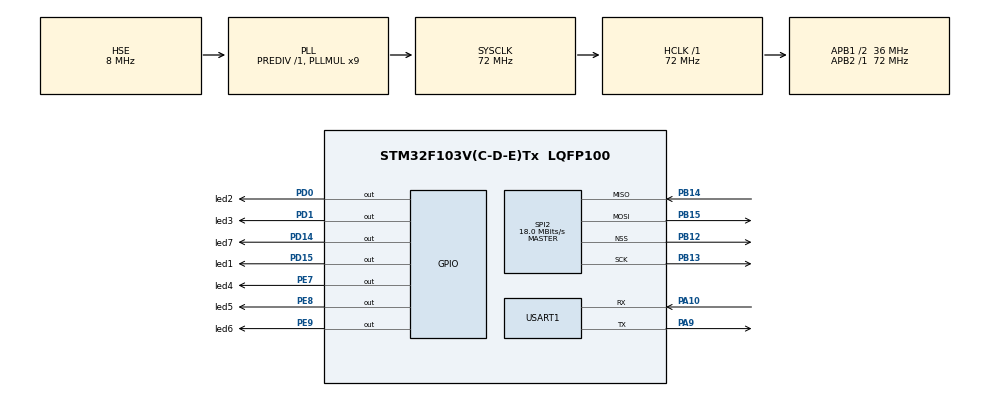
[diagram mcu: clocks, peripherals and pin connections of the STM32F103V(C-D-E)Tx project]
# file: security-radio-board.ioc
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FREERTOS.Tasks01=defaultTask,0,128,StartDefaultTask,Default,NULL
Mcu.Family=STM32F1
Mcu.Name=STM32F103V(C-D-E)Tx
Mcu.Package=LQFP100
NVIC.PriorityGroup=NVIC_PRIORITYGROUP_4
NVIC.TIM8_UP_IRQn=true\:0\:0\:false\:false\:true\:false\:false
NVIC.TimeBase=TIM8_UP_IRQn
NVIC.TimeBaseIP=TIM8
OSC_IN.Mode=HSE-External-Oscillator
OSC_IN.Signal=RCC_OSC_IN
OSC_OUT.Mode=HSE-External-Oscillator
OSC_OUT.Signal=RCC_OSC_OUT
PA10.Mode=Asynchronous
PA10.Signal=USART1_RX
PA13.Mode=JTAG_5_pins
PA13.Signal=SYS_JTMS-SWDIO
PA14.Mode=JTAG_5_pins
PA14.Signal=SYS_JTCK-SWCLK
PA15.Mode=JTAG_5_pins
PA15.Signal=SYS_JTDI
PA9.Mode=Asynchronous
PA9.Signal=USART1_TX
PB12.Mode=NSS_Signal_Hard_Output
PB12.Signal=SPI2_NSS
PB13.Mode=Full_Duplex_Master
PB13.Signal=SPI2_SCK
PB14.Mode=Full_Duplex_Master
PB14.Signal=SPI2_MISO
PB15.Mode=Full_Duplex_Master
PB15.Signal=SPI2_MOSI
PB3.Mode=JTAG_5_pins
PB3.Signal=SYS_JTDO-TRACESWO
PB4.Mode=JTAG_5_pins
PB4.Signal=SYS_NJTRST
PD0.GPIO_Label=led2
PD0.Signal=GPIO_Output
PD1.GPIO_Label=led3
PD1.Signal=GPIO_Output
PD14.GPIO_Label=led7
PD14.Signal=GPIO_Output
PD15.GPIO_Label=led1
PD15.Signal=GPIO_Output
PE7.GPIO_Label=led4
PE7.Signal=GPIO_Output
PE8.GPIO_Label=led5
PE8.Signal=GPIO_Output
PE9.GPIO_Label=led6
PE9.Signal=GPIO_Output
ProjectManager.HeapSize=0x200
ProjectManager.StackSize=0x400
ProjectManager.TargetToolchain=SW4STM32
RCC.AHBFreq_Value=72000000
RCC.APB1CLKDivider=RCC_HCLK_DIV2
RCC.APB1Freq_Value=36000000
RCC.APB1TimFreq_Value=72000000
RCC.APB2Freq_Value=72000000
RCC.APB2TimFreq_Value=72000000
RCC.HCLKFreq_Value=72000000
RCC.PLLMUL=RCC_PLL_MUL9
RCC.PLLSourceVirtual=RCC_PLLSOURCE_HSE
RCC.SYSCLKFreq_VALUE=72000000
RCC.SYSCLKSource=RCC_SYSCLKSOURCE_PLLCLK
RCC.USBFreq_Value=72000000
SPI2.CalculateBaudRate=18.0 MBits/s
SPI2.Direction=SPI_DIRECTION_2LINES
SPI2.Mode=SPI_MODE_MASTER
SPI2.VirtualNSS=VM_NSSHARD
SPI2.VirtualType=VM_MASTER
USART1.VirtualMode=VM_ASYNC
VP_FREERTOS_VS_ENABLE.Mode=Enabled
VP_IWDG_VS_IWDG.Mode=IWDG_Activate
VP_SYS_VS_tim8.Mode=TIM8
board=security-radio-board

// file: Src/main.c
/**
 ******************************************************************************
 * @file           : main.c
 * @brief          : Main program body
 ******************************************************************************
 * This notice applies to any and all portions of this file
 * that are not between comment pairs USER CODE BEGIN and
 * USER CODE END. Other portions of this file, whether
 * inserted by the user or by software development tools
 * are owned by their respective copyright owners.
 *
 * Copyright (c) 2018 STMicroelectronics International N.V.
 * All rights reserved.
 *
 * Redistribution and use in source and binary forms, with or without
 * modification, are permitted, provided that the following conditions are met:
 *
 * 1. Redistribution of source code must retain the above copyright notice,
 *    this list of conditions and the following disclaimer.
 * 2. Redistributions in binary form must reproduce the above copyright notice,
 *    this list of conditions and the following disclaimer in the documentation
 *    and/or other materials provided with the distribution.
 * 3. Neither the name of STMicroelectronics nor the names of other
 *    contributors to this software may be used to endorse or promote products
 *    derived from this software without specific written permission.
 * 4. This software, including modifications and/or derivative works of this
 *    software, must execute solely and exclusively on microcontroller or
 *    microprocessor devices manufactured by or for STMicroelectronics.
 * 5. Redistribution and use of this software other than as permitted under
 *    this license is void and will automatically terminate your rights under
 *    this license.
 *
 * THIS SOFTWARE IS PROVIDED BY STMICROELECTRONICS AND CONTRIBUTORS "AS IS"
 * AND ANY EXPRESS, IMPLIED OR STATUTORY WARRANTIES, INCLUDING, BUT NOT
 * LIMITED TO, THE IMPLIED WARRANTIES OF MERCHANTABILITY, FITNESS FOR A
 * PARTICULAR PURPOSE AND NON-INFRINGEMENT OF THIRD PARTY INTELLECTUAL PROPERTY
 * RIGHTS ARE DISCLAIMED TO THE FULLEST EXTENT PERMITTED BY LAW. IN NO EVENT
 * SHALL STMICROELECTRONICS OR CONTRIBUTORS BE LIABLE FOR ANY DIRECT, INDIRECT,
 * INCIDENTAL, SPECIAL, EXEMPLARY, OR CONSEQUENTIAL DAMAGES (INCLUDING, BUT NOT
 * LIMITED TO, PROCUREMENT OF SUBSTITUTE GOODS OR SERVICES; LOSS OF USE, DATA,
 * OR PROFITS; OR BUSINESS INTERRUPTION) HOWEVER CAUSED AND ON ANY THEORY OF
 * LIABILITY, WHETHER IN CONTRACT, STRICT LIABILITY, OR TORT (INCLUDING
 * NEGLIGENCE OR OTHERWISE) ARISING IN ANY WAY OUT OF THE USE OF THIS SOFTWARE,
 * EVEN IF ADVISED OF THE POSSIBILITY OF SUCH DAMAGE.
 *
 ******************************************************************************
 */
#include "main.h"
#include "stm32f1xx_hal.h"
#include "cmsis_os.h"
#include "iwdg.h"
#include "spi.h"
#include "usart.h"
#include "gpio.h"

/* USER CODE BEGIN PV */
/* Private variables ---------------------------------------------------------*/

/* USER CODE END PV */

void SystemClock_Config(void);
void MX_FREERTOS_Init(void);

/* USER CODE BEGIN PFP */
/* Private function prototypes -----------------------------------------------*/

/* USER CODE END PFP */

int main(void)
{
	/* USER CODE BEGIN 1 */
	puts("\n");
	/* USER CODE END 1 */

	/* MCU Configuration----------------------------------------------------------*/

	/* Reset of all peripherals, Initializes the Flash interface and the Systick. */
	HAL_Init();

	/* Configure the system clock */
	SystemClock_Config();

	/* Initialize all configured peripherals */
	MX_GPIO_Init();
	MX_USART1_UART_Init();
	MX_SPI2_Init();
	MX_IWDG_Init();
	/* USER CODE BEGIN 2 */
	printf("hello");
	/* USER CODE END 2 */

	/* Call init function for freertos objects (in freertos.c) */
	MX_FREERTOS_Init();

	/* Start scheduler */
	osKernelStart();

	/* We should never get here as control is now taken by the scheduler */

	/* Infinite loop */
	while (1)
	{

	}

}

void SystemClock_Config(void)
{

	RCC_OscInitTypeDef RCC_OscInitStruct;
	RCC_ClkInitTypeDef RCC_ClkInitStruct;

	/**Initializes the CPU, AHB and APB busses clocks
	 */
	RCC_OscInitStruct.OscillatorType = RCC_OSCILLATORTYPE_LSI
			| RCC_OSCILLATORTYPE_HSE;
	RCC_OscInitStruct.HSEState = RCC_HSE_ON;
	RCC_OscInitStruct.HSEPredivValue = RCC_HSE_PREDIV_DIV1;
	RCC_OscInitStruct.HSIState = RCC_HSI_ON;
	RCC_OscInitStruct.LSIState = RCC_LSI_ON;
	RCC_OscInitStruct.PLL.PLLState = RCC_PLL_ON;
	RCC_OscInitStruct.PLL.PLLSource = RCC_PLLSOURCE_HSE;
	RCC_OscInitStruct.PLL.PLLMUL = RCC_PLL_MUL9;
	if (HAL_RCC_OscConfig(&RCC_OscInitStruct) != HAL_OK)
	{
		_Error_Handler(__FILE__, __LINE__);
	}

	/**Initializes the CPU, AHB and APB busses clocks
	 */
	RCC_ClkInitStruct.ClockType = RCC_CLOCKTYPE_HCLK | RCC_CLOCKTYPE_SYSCLK
			| RCC_CLOCKTYPE_PCLK1 | RCC_CLOCKTYPE_PCLK2;
	RCC_ClkInitStruct.SYSCLKSource = RCC_SYSCLKSOURCE_PLLCLK;
	RCC_ClkInitStruct.AHBCLKDivider = RCC_SYSCLK_DIV1;
	RCC_ClkInitStruct.APB1CLKDivider = RCC_HCLK_DIV2;
	RCC_ClkInitStruct.APB2CLKDivider = RCC_HCLK_DIV1;

	if (HAL_RCC_ClockConfig(&RCC_ClkInitStruct, FLASH_LATENCY_2) != HAL_OK)
	{
		_Error_Handler(__FILE__, __LINE__);
	}

	/**Configure the Systick interrupt time
	 */
	HAL_SYSTICK_Config(HAL_RCC_GetHCLKFreq() / 1000);

	/**Configure the Systick
	 */
	HAL_SYSTICK_CLKSourceConfig(SYSTICK_CLKSOURCE_HCLK);

	/* SysTick_IRQn interrupt configuration */
	HAL_NVIC_SetPriority(SysTick_IRQn, 15, 0);
}

void HAL_TIM_PeriodElapsedCallback(TIM_HandleTypeDef *htim)
{
	if (htim->Instance == TIM8)
	{
		HAL_IncTick();
	}
}

void _Error_Handler(char *file, int line)
{
	/* USER CODE BEGIN Error_Handler_Debug */
	/* User can add his own implementation to report the HAL error return state */
	(void) file;
	(void) line;
	while (1)
	{
	}
	/* USER CODE END Error_Handler_Debug */
}

#ifdef  USE_FULL_ASSERT
/**
 * @brief  Reports the name of the source file and the source line number
 *         where the assert_param error has occurred.
 * @param  file: pointer to the source file name
 * @param  line: assert_param error line source number
 * @retval None
 */
void assert_failed(uint8_t* file, uint32_t line)
{
	/* USER CODE BEGIN 6 */
	(void) file;
	(void) line;
	/* User can add his own implementation to report the file name and line number,
	 tex: printf("Wrong parameters value: file %s on line %d\r\n", file, line) */
	/* USER CODE END 6 */
}
#endif /* USE_FULL_ASSERT */

/************************ (C) COPYRIGHT STMicroelectronics *****END OF FILE****/

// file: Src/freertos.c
/**
 ******************************************************************************
 * File Name          : freertos.c
 * Description        : Code for freertos applications
 ******************************************************************************
 * This notice applies to any and all portions of this file
 * that are not between comment pairs USER CODE BEGIN and
 * USER CODE END. Other portions of this file, whether
 * inserted by the user or by software development tools
 * are owned by their respective copyright owners.
 *
 * Copyright (c) 2018 STMicroelectronics International N.V.
 * All rights reserved.
 *
 * Redistribution and use in source and binary forms, with or without
 * modification, are permitted, provided that the following conditions are met:
 *
 * 1. Redistribution of source code must retain the above copyright notice,
 *    this list of conditions and the following disclaimer.
 * 2. Redistributions in binary form must reproduce the above copyright notice,
 *    this list of conditions and the following disclaimer in the documentation
 *    and/or other materials provided with the distribution.
 * 3. Neither the name of STMicroelectronics nor the names of other
 *    contributors to this software may be used to endorse or promote products
 *    derived from this software without specific written permission.
 * 4. This software, including modifications and/or derivative works of this
 *    software, must execute solely and exclusively on microcontroller or
 *    microprocessor devices manufactured by or for STMicroelectronics.
 * 5. Redistribution and use of this software other than as permitted under
 *    this license is void and will automatically terminate your rights under
 *    this license.
 *
 * THIS SOFTWARE IS PROVIDED BY STMICROELECTRONICS AND CONTRIBUTORS "AS IS"
 * AND ANY EXPRESS, IMPLIED OR STATUTORY WARRANTIES, INCLUDING, BUT NOT
 * LIMITED TO, THE IMPLIED WARRANTIES OF MERCHANTABILITY, FITNESS FOR A
 * PARTICULAR PURPOSE AND NON-INFRINGEMENT OF THIRD PARTY INTELLECTUAL PROPERTY
 * RIGHTS ARE DISCLAIMED TO THE FULLEST EXTENT PERMITTED BY LAW. IN NO EVENT
 * SHALL STMICROELECTRONICS OR CONTRIBUTORS BE LIABLE FOR ANY DIRECT, INDIRECT,
 * INCIDENTAL, SPECIAL, EXEMPLARY, OR CONSEQUENTIAL DAMAGES (INCLUDING, BUT NOT
 * LIMITED TO, PROCUREMENT OF SUBSTITUTE GOODS OR SERVICES; LOSS OF USE, DATA,
 * OR PROFITS; OR BUSINESS INTERRUPTION) HOWEVER CAUSED AND ON ANY THEORY OF
 * LIABILITY, WHETHER IN CONTRACT, STRICT LIABILITY, OR TORT (INCLUDING
 * NEGLIGENCE OR OTHERWISE) ARISING IN ANY WAY OUT OF THE USE OF THIS SOFTWARE,
 * EVEN IF ADVISED OF THE POSSIBILITY OF SUCH DAMAGE.
 *
 ******************************************************************************
 */

#include "FreeRTOS.h"
#include "task.h"
#include "cmsis_os.h"

/* USER CODE BEGIN Includes */
#include "gpio.h"
#include "iwdg.h"
#include "main.h"

/* USER CODE END Includes */

osThreadId defaultTaskHandle;

void StartDefaultTask(void const * argument);

void MX_FREERTOS_Init(void); /* (MISRA C 2004 rule 8.1) */

/* USER CODE BEGIN FunctionPrototypes */
static void update_led();
/* USER CODE END FunctionPrototypes */

/* Hook prototypes */

/* Init FreeRTOS */

void MX_FREERTOS_Init(void)
{
	/* USER CODE BEGIN Init */
	HAL_IWDG_Init(&hiwdg);
	#define led_default_state 1
	HAL_GPIO_WritePin(led1_GPIO_Port,led1_Pin,led_default_state);
	HAL_GPIO_WritePin(led2_GPIO_Port,led2_Pin,led_default_state);
	HAL_GPIO_WritePin(led3_GPIO_Port,led3_Pin,led_default_state);
	HAL_GPIO_WritePin(led4_GPIO_Port,led4_Pin,led_default_state);
	HAL_GPIO_WritePin(led5_GPIO_Port,led5_Pin,led_default_state);
	HAL_GPIO_WritePin(led6_GPIO_Port,led6_Pin,led_default_state);
	HAL_GPIO_WritePin(led7_GPIO_Port,led7_Pin,led_default_state);

	/* USER CODE END Init */

	/* Create the thread(s) */
	/* definition and creation of defaultTask */
	osThreadDef(defaultTask, StartDefaultTask, osPriorityNormal, 0, 128);
	defaultTaskHandle = osThreadCreate(osThread(defaultTask), NULL);

}

/* StartDefaultTask function */
void StartDefaultTask(void const * argument)
{

	/* USER CODE BEGIN StartDefaultTask */
	(void) argument;
	/* Infinite loop */
	for (;;)
	{
		//HAL_IWDG_Refresh(&hiwdg);
		update_led();
		osThreadYield();
		//osDelay(1);
	}
	/* USER CODE END StartDefaultTask */
}

/* USER CODE BEGIN Application */
static void toggle_led(uint8_t bit)
{
	switch (bit)
	{
	case 1:
		HAL_GPIO_TogglePin(led7_GPIO_Port, led7_Pin);

		break;
	case 1 << 1:
		HAL_GPIO_TogglePin(led6_GPIO_Port, led6_Pin);

		break;
	case 1 << 2:
		HAL_GPIO_TogglePin(led5_GPIO_Port, led5_Pin);

		break;
	case 1 << 3:
		HAL_GPIO_TogglePin(led4_GPIO_Port, led4_Pin);

		break;
	case 1 << 4:
		HAL_GPIO_TogglePin(led3_GPIO_Port, led3_Pin);

		break;
	case 1 << 5:
		HAL_GPIO_TogglePin(led2_GPIO_Port, led2_Pin);

		break;
	case 1 << 6:
		HAL_GPIO_TogglePin(led1_GPIO_Port, led1_Pin);

		break;
	}

}

static void update_led()
{
	static uint8_t count = 0;
	static uint8_t last_grey = 0;
	static uint8_t last_transition_bit = 0;
	uint8_t grey = (count ^ (count >> 1)) & 0x7f;
	uint8_t transition_bit = grey ^ last_grey;
	toggle_led(transition_bit);
	toggle_led(last_transition_bit);
	last_grey = grey;
	last_transition_bit = transition_bit;
	count++;
}
/* USER CODE END Application */

/************************ (C) COPYRIGHT STMicroelectronics *****END OF FILE****/
